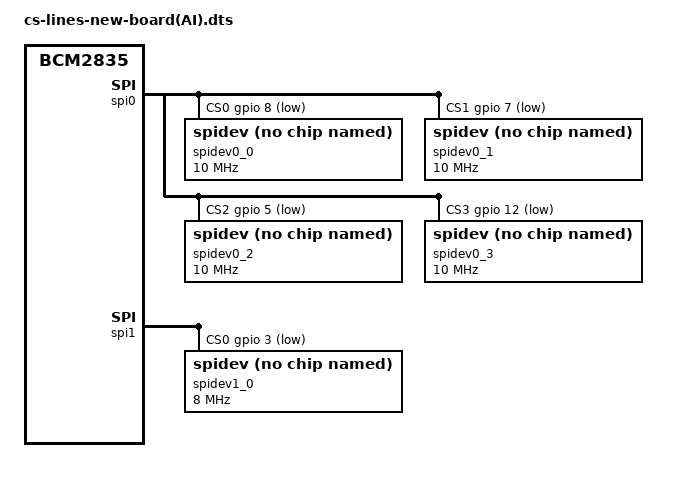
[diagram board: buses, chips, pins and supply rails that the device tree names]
/dts-v1/;
/plugin/;

/ {
    compatible = "brcm,bcm2835";

    /* ---------- SPI0: 4 devices ---------- */

    fragment@0 {
        target = <&spi0_cs_pins>;
        __overlay__ {
            brcm,pins = <8 7 5 12>;
            brcm,function = <1>;   /* output */
        };
    };

    fragment@1 {
        target = <&spi0>;
        __overlay__ {
            #address-cells = <1>;
            #size-cells = <0>;

            cs-gpios = <&gpio 8 1>, <&gpio 7 1>, <&gpio 5 1>, <&gpio 12 1>;
            status = "okay";

            spidev0_0: spidev@0 {
                compatible = "spidev";
                reg = <0>;
                spi-max-frequency = <10000000>;
            };

            spidev0_1: spidev@1 {
                compatible = "spidev";
                reg = <1>;
                spi-max-frequency = <10000000>;
            };

            spidev0_2: spidev@2 {
                compatible = "spidev";
                reg = <2>;
                spi-max-frequency = <10000000>;
            };

            spidev0_3: spidev@3 {
                compatible = "spidev";
                reg = <3>;
                spi-max-frequency = <10000000>;
            };
        };
    };

    /* ---------- SPI1: 1 device ---------- */

    fragment@2 {
        target = <&spi1>;
        __overlay__ {
            #address-cells = <1>;
            #size-cells = <0>;

            cs-gpios = <&gpio 3 1>;
            status = "okay";

            spidev1_0: spidev@0 {
                compatible = "spidev";
                reg = <0>;
                spi-max-frequency = <8000000>;
            };
        };
    };
};
